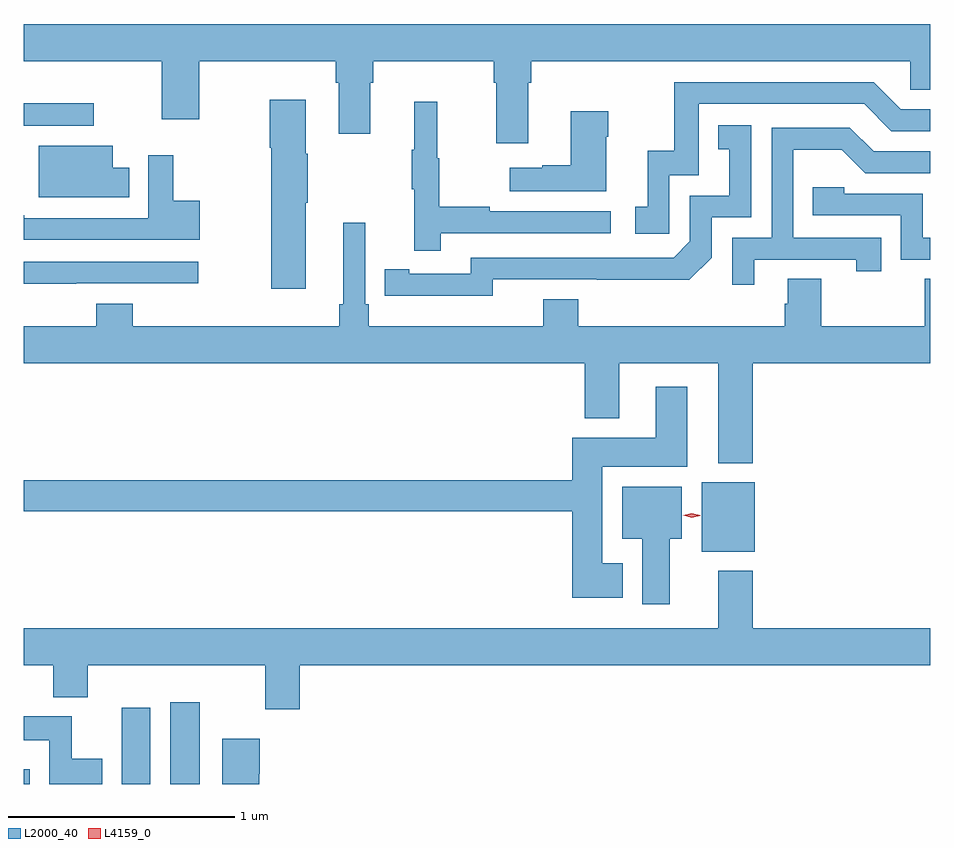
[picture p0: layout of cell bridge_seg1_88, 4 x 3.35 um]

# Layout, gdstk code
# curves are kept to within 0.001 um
import gdstk
lib = gdstk.Library(unit=1e-6, precision=1e-09)
def R(c, l, rs):  # rectangles x0, y0, x1, y1
    for r in rs: c.add(gdstk.rectangle(r[:2], r[2:], *l))
def P(c, l, *ps):  # polygons
    for p in ps: c.add(gdstk.Polygon(p, *l))
L2000_40 = (2000, 40)
L4159_0 = (4159, 0)

bridge_seg1_88 = lib.new_cell('bridge_seg1_88')
R(bridge_seg1_88, L2000_40, [(278.149,573.852,278.177,573.916), (278.582,573.852,278.707,574.189), (278.795,573.852,278.926,574.213), (281.141,574.877,281.374,575.182), (278.149,576.756,278.458,576.854)])
P(bridge_seg1_88, L2000_40, [(280.375,576.944),(280.388,576.944),(280.388,577.04),(282.06,577.04),(282.06,576.913),(282.149,576.913),(282.149,577.204),(278.149,577.204),(278.149,577.04),(278.759,577.04),(278.759,576.783),(278.924,576.783),(278.924,577.04),(279.527,577.04),(279.527,576.944),(279.539,576.944),(279.539,576.72),(279.679,576.72),(279.679,576.944),(279.692,576.944),(279.692,577.04),(280.223,577.04),(280.223,576.944),(280.235,576.944),(280.235,576.678),(280.375,576.678)],
  [(280.998,576.537),(281.127,576.537),(281.127,576.852),(281.856,576.852),(281.976,576.732),(282.149,576.732),(282.149,576.828),(282.018,576.828),(281.898,576.948),(281.019,576.948),(281.019,576.646),(280.901,576.646),(280.901,576.399),(280.848,576.399),(280.848,576.279),(280.998,576.279)],
  [(279.394,576.415),(279.402,576.415),(279.402,576.632),(279.394,576.632),(279.394,576.871),(279.236,576.871),(279.236,576.658),(279.241,576.658),(279.241,576.036),(279.394,576.036)],
  [(279.989,576.282),(280.738,576.282),(280.738,576.378),(280.205,576.378),(280.205,576.398),(279.982,576.398),(279.982,576.612),(279.974,576.612),(279.974,576.862),(279.872,576.862),(279.872,576.649),(279.861,576.649),(279.861,576.475),(279.872,576.475),(279.872,576.204),(279.989,576.204)],
  [(280.72,576.707),(280.728,576.707),(280.728,576.82),(280.562,576.82),(280.562,576.581),(280.436,576.581),(280.436,576.571),(280.293,576.571),(280.293,576.467),(280.72,576.467)],
  [(280.218,576.078),(281.086,576.077),(281.184,576.174),(281.184,576.351),(281.358,576.351),(281.358,576.757),(281.212,576.757),(281.212,576.651),(281.261,576.651),(281.261,576.447),(281.088,576.447),(281.088,576.246),(281.016,576.174),(280.122,576.174),(280.122,576.102),(279.85,576.102),(279.85,576.122),(279.742,576.122),(279.742,576.006),(280.218,576.005)],
  [(281.371,576.165),(281.822,576.165),(281.822,576.114),(281.933,576.114),(281.933,576.261),(281.544,576.261),(281.544,576.65),(281.758,576.65),(281.862,576.546),(282.149,576.546),(282.149,576.642),(281.899,576.642),(281.794,576.747),(281.448,576.747),(281.448,576.261),(281.274,576.261),(281.274,576.054),(281.371,576.054)],
  [(278.615,576.57),(278.542,576.57),(278.542,576.667),(278.216,576.667),(278.216,576.44),(278.615,576.44)],
  [(278.926,576.424),(278.809,576.424),(278.809,576.625),(278.7,576.625),(278.7,576.348),(278.152,576.348),(278.152,576.361),(278.149,576.361),(278.149,576.252),(278.926,576.252)],
  [(282.149,576.261),(282.114,576.261),(282.114,576.456),(281.769,576.456),(281.769,576.483),(281.629,576.483),(281.629,576.36),(282.018,576.36),(282.018,576.165),(282.149,576.165)],
  [(280.595,575.989),(280.442,575.989),(280.442,575.872),(279.671,575.872),(279.671,575.968),(279.657,575.968),(279.657,576.328),(279.56,576.328),(279.56,575.968),(279.541,575.968),(279.541,575.872),(278.63,575.872),(278.63,575.971),(278.47,575.971),(278.47,575.872),(278.149,575.872),(278.149,575.708),(280.625,575.708),(280.625,575.465),(280.777,575.465),(280.777,575.708),(281.213,575.708),(281.213,575.267),(281.366,575.267),(281.366,575.708),(282.149,575.708),(282.149,576.08),(282.124,576.08),(282.124,575.872),(281.667,575.872),(281.667,576.08),(281.519,576.08),(281.519,575.97),(281.507,575.97),(281.507,575.872),(280.595,575.872)],
  [(278.381,576.06),(278.92,576.06),(278.92,576.156),(278.149,576.156),(278.149,576.059),(278.381,576.059)],
  [(280.792,574.825),(280.702,574.825),(280.702,575.252),(281.077,575.252),(281.077,575.605),(280.937,575.605),(280.937,575.38),(280.568,575.38),(280.568,575.192),(278.149,575.192),(278.149,575.056),(280.568,575.056),(280.568,574.673),(280.792,574.673)],
  [(280.999,574.934),(281.053,574.934),(281.053,575.164),(280.79,575.164),(280.79,574.934),(280.877,574.934),(280.877,574.644),(280.999,574.644)],
  [(279.368,574.376),(282.149,574.376),(282.149,574.54),(281.366,574.54),(281.366,574.792),(281.213,574.792),(281.213,574.54),(278.149,574.54),(278.149,574.376),(278.279,574.376),(278.279,574.235),(278.432,574.235),(278.432,574.376),(279.215,574.376),(279.215,574.182),(279.368,574.182)],
  [(278.497,573.964),(278.361,573.964),(278.361,574.15),(278.149,574.15),(278.149,574.046),(278.262,574.046),(278.262,573.852),(278.497,573.852)],
  [(279.188,573.897),(279.19,573.897),(279.19,574.051),(279.026,574.051),(279.026,573.852),(279.188,573.852)])
P(bridge_seg1_88, L4159_0, [(281.096,575.027),(281.059,575.037),(281.059,575.037),(281.059,575.037),(281.096,575.047),(281.134,575.037),(281.134,575.037),(281.134,575.036)])

lib.write_gds('bridge_seg1_88.gds')
